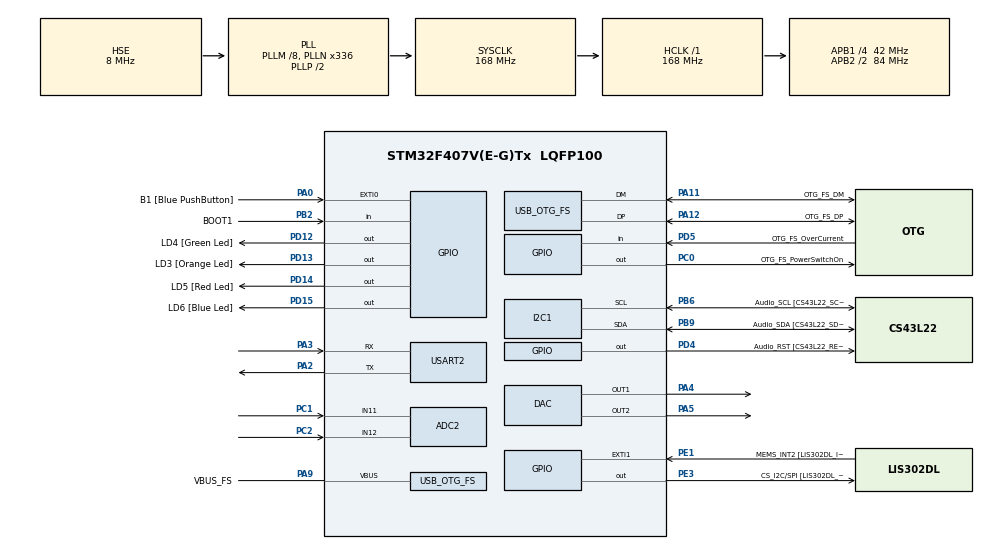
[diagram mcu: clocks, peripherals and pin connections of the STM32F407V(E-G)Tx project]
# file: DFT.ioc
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ADC1.Channel-1\#ChannelRegularConversion=ADC_CHANNEL_11
ADC1.NbrOfConversionFlag=1
ADC1.Rank-1\#ChannelRegularConversion=1
ADC1.SamplingTime-1\#ChannelRegularConversion=ADC_SAMPLETIME_3CYCLES
ADC1.master=1
ADC2.Channel-0\#ChannelRegularConversion=ADC_CHANNEL_12
ADC2.NbrOfConversionFlag=1
ADC2.Rank-0\#ChannelRegularConversion=1
ADC2.SamplingTime-0\#ChannelRegularConversion=ADC_SAMPLETIME_3CYCLES
Mcu.Family=STM32F4
Mcu.Name=STM32F407V(E-G)Tx
Mcu.Package=LQFP100
NVIC.OTG_FS_IRQn=true\:0\:0\:false\:false\:true\:true\:true\:true
NVIC.PriorityGroup=NVIC_PRIORITYGROUP_0
NVIC.TIM3_IRQn=true\:0\:0\:false\:false\:true\:true\:true\:true
PA0-WKUP.GPIO_Label=B1 [Blue PushButton]
PA0-WKUP.GPIO_ModeDefaultEXTI=GPIO_MODE_EVT_RISING
PA0-WKUP.GPIO_PuPd=GPIO_NOPULL
PA0-WKUP.Signal=GPXTI0
PA10.GPIO_Label=OTG_FS_ID
PA10.GPIO_Mode=GPIO_MODE_AF_PP
PA10.GPIO_PuPd=GPIO_NOPULL
PA10.GPIO_Speed=GPIO_SPEED_FREQ_LOW
PA10.Signal=USB_OTG_FS_ID
PA11.GPIO_Label=OTG_FS_DM
PA11.GPIO_Mode=GPIO_MODE_AF_PP
PA11.GPIO_PuPd=GPIO_NOPULL
PA11.GPIO_Speed=GPIO_SPEED_FREQ_LOW
PA11.Mode=Host_Only
PA11.Signal=USB_OTG_FS_DM
PA12.GPIO_Label=OTG_FS_DP
PA12.GPIO_Mode=GPIO_MODE_AF_PP
PA12.GPIO_PuPd=GPIO_NOPULL
PA12.GPIO_Speed=GPIO_SPEED_FREQ_LOW
PA12.Mode=Host_Only
PA12.Signal=USB_OTG_FS_DP
PA13.GPIO_Label=SWDIO
PA13.Mode=Serial_Wire
PA13.Signal=SYS_JTMS-SWDIO
PA14.GPIO_Label=SWCLK
PA14.Mode=Serial_Wire
PA14.Signal=SYS_JTCK-SWCLK
PA2.Mode=Asynchronous
PA2.Signal=USART2_TX
PA3.Mode=Asynchronous
PA3.Signal=USART2_RX
PA4.Signal=COMP_DAC1_group
PA5.Signal=COMP_DAC2_group
PA6.GPIO_Label=SPI1_MISO [LIS302DL_SDO]
PA6.GPIO_Mode=GPIO_MODE_AF_PP
PA6.GPIO_PuPd=GPIO_NOPULL
PA6.GPIO_Speed=GPIO_SPEED_FREQ_LOW
PA6.Signal=SPI1_MISO
PA7.GPIO_Label=SPI1_MOSI [LIS302DL_SDA/SDI/SDO]
PA7.GPIO_Mode=GPIO_MODE_AF_PP
PA7.GPIO_PuPd=GPIO_NOPULL
PA7.GPIO_Speed=GPIO_SPEED_FREQ_LOW
PA7.Signal=SPI1_MOSI
PA9.GPIO_Label=VBUS_FS
PA9.GPIO_Mode=GPIO_MODE_INPUT
PA9.GPIO_PuPd=GPIO_NOPULL
PA9.Mode=Activate_VBUS
PA9.Signal=USB_OTG_FS_VBUS
PB10.GPIO_Label=CLK_IN [MP45DT02_CLK]
PB10.GPIO_Mode=GPIO_MODE_AF_PP
PB10.GPIO_PuPd=GPIO_NOPULL
PB10.GPIO_Speed=GPIO_SPEED_FREQ_LOW
PB10.Signal=I2S2_CK
PB2.GPIO_Label=BOOT1
PB2.GPIO_Mode=GPIO_MODE_INPUT
PB2.GPIO_PuPd=GPIO_NOPULL
PB2.Signal=GPIO_Input
PB3.GPIO_Label=SWO
PB3.Signal=SYS_JTDO-SWO
PB6.GPIO_Label=Audio_SCL [CS43L22_SCL]
PB6.GPIO_Mode=GPIO_MODE_AF_OD
PB6.GPIO_Pu=GPIO_PULLUP
PB6.GPIO_PuPd=GPIO_NOPULL
PB6.GPIO_Speed=GPIO_SPEED_FREQ_LOW
PB6.Mode=I2C
PB6.Signal=I2C1_SCL
PB9.GPIO_Label=Audio_SDA [CS43L22_SDA]
PB9.GPIO_Mode=GPIO_MODE_AF_OD
PB9.GPIO_Pu=GPIO_PULLUP
PB9.GPIO_PuPd=GPIO_NOPULL
PB9.GPIO_Speed=GPIO_SPEED_FREQ_LOW
PB9.Mode=I2C
PB9.Signal=I2C1_SDA
PC0.GPIO_Label=OTG_FS_PowerSwitchOn
PC0.GPIO_PuPd=GPIO_NOPULL
PC0.GPIO_Speed=GPIO_SPEED_FREQ_LOW
PC0.PinState=GPIO_PIN_SET
PC0.Signal=GPIO_Output
PC1.Signal=ADCx_IN11
PC10.GPIO_Label=I2S3_SCK [CS43L22_SCLK]
PC10.GPIO_Mode=GPIO_MODE_AF_PP
PC10.GPIO_PuPd=GPIO_NOPULL
PC10.GPIO_Speed=GPIO_SPEED_FREQ_LOW
PC10.Signal=I2S3_CK
PC12.GPIO_Label=I2S3_SD [CS43L22_SDIN]
PC12.GPIO_Mode=GPIO_MODE_AF_PP
PC12.GPIO_PuPd=GPIO_NOPULL
PC12.GPIO_Speed=GPIO_SPEED_FREQ_LOW
PC12.Signal=I2S3_SD
PC14-OSC32_IN.GPIO_Label=PC14-OSC32_IN
PC14-OSC32_IN.Mode=LSE-External-Oscillator
PC14-OSC32_IN.Signal=RCC_OSC32_IN
PC15-OSC32_OUT.GPIO_Label=PC15-OSC32_OUT
PC15-OSC32_OUT.Mode=LSE-External-Oscillator
PC15-OSC32_OUT.Signal=RCC_OSC32_OUT
PC2.Signal=ADCx_IN12
PC3.GPIO_Label=PDM_OUT [MP45DT02_DOUT]
PC3.GPIO_Mode=GPIO_MODE_AF_PP
PC3.GPIO_PuPd=GPIO_NOPULL
PC3.GPIO_Speed=GPIO_SPEED_FREQ_LOW
PC3.Signal=I2S2_SD
PC7.GPIO_Label=I2S3_MCK [CS43L22_MCLK]
PC7.GPIO_Mode=GPIO_MODE_AF_PP
PC7.GPIO_PuPd=GPIO_NOPULL
PC7.GPIO_Speed=GPIO_SPEED_FREQ_LOW
PC7.Signal=I2S3_MCK
PD12.GPIO_Label=LD4 [Green Led]
PD12.GPIO_PuPd=GPIO_NOPULL
PD12.GPIO_Speed=GPIO_SPEED_FREQ_LOW
PD12.Signal=GPIO_Output
PD13.GPIO_Label=LD3 [Orange Led]
PD13.GPIO_PuPd=GPIO_NOPULL
PD13.GPIO_Speed=GPIO_SPEED_FREQ_LOW
PD13.Signal=GPIO_Output
PD14.GPIO_Label=LD5 [Red Led]
PD14.GPIO_PuPd=GPIO_NOPULL
PD14.GPIO_Speed=GPIO_SPEED_FREQ_LOW
PD14.Signal=GPIO_Output
PD15.GPIO_Label=LD6 [Blue Led]
PD15.GPIO_PuPd=GPIO_NOPULL
PD15.GPIO_Speed=GPIO_SPEED_FREQ_LOW
PD15.Signal=GPIO_Output
PD4.GPIO_Label=Audio_RST [CS43L22_RESET]
PD4.GPIO_PuPd=GPIO_NOPULL
PD4.GPIO_Speed=GPIO_SPEED_FREQ_LOW
PD4.Signal=GPIO_Output
PD5.GPIO_Label=OTG_FS_OverCurrent
PD5.GPIO_Mode=GPIO_MODE_INPUT
PD5.GPIO_PuPd=GPIO_NOPULL
PD5.Signal=GPIO_Input
PE1.GPIO_Label=MEMS_INT2 [LIS302DL_INT2]
PE1.GPIO_ModeDefaultEXTI=GPIO_MODE_EVT_RISING
PE1.GPIO_PuPd=GPIO_NOPULL
PE1.Signal=GPXTI1
PE3.GPIO_Label=CS_I2C/SPI [LIS302DL_CS_I2C/SPI]
PE3.GPIO_PuPd=GPIO_NOPULL
PE3.GPIO_Speed=GPIO_SPEED_FREQ_LOW
PE3.Signal=GPIO_Output
PH0-OSC_IN.GPIO_Label=PH0-OSC_IN
PH0-OSC_IN.Mode=HSE-External-Oscillator
PH0-OSC_IN.Signal=RCC_OSC_IN
PH1-OSC_OUT.GPIO_Label=PH1-OSC_OUT
PH1-OSC_OUT.Mode=HSE-External-Oscillator
PH1-OSC_OUT.Signal=RCC_OSC_OUT
ProjectManager.HeapSize=0x200
ProjectManager.StackSize=0x400
ProjectManager.TargetToolchain=STM32CubeIDE
RCC.48MHZClocksFreq_Value=48000000
RCC.AHBFreq_Value=168000000
RCC.APB1CLKDivider=RCC_HCLK_DIV4
RCC.APB1Freq_Value=42000000
RCC.APB1TimFreq_Value=84000000
RCC.APB2CLKDivider=RCC_HCLK_DIV2
RCC.APB2Freq_Value=84000000
RCC.APB2TimFreq_Value=168000000
RCC.CortexFreq_Value=168000000
RCC.HCLKFreq_Value=168000000
RCC.HSE_VALUE=8000000
RCC.HSI_VALUE=16000000
RCC.PLLM=8
RCC.PLLN=336
RCC.PLLQ=7
RCC.SYSCLKFreq_VALUE=168000000
RCC.SYSCLKSource=RCC_SYSCLKSOURCE_PLLCLK
RCC.VCOOutputFreq_Value=336000000
SH.ADCx_IN11.0=ADC2_IN11,IN11
SH.ADCx_IN11.1=ADC1_IN11,IN11
SH.ADCx_IN12.0=ADC2_IN12,IN12
SH.COMP_DAC1_group.0=DAC_OUT1,DAC_OUT1
SH.COMP_DAC2_group.0=DAC_OUT2,DAC_OUT2
TIM3.AutoReloadPreload=TIM_AUTORELOAD_PRELOAD_ENABLE
TIM3.Period=83
TIM3.Prescaler=99
USART2.VirtualMode=VM_ASYNC
USB_HOST.BSP.number=1
USB_HOST.USBH_HandleTypeDef-CDC_FS=hUsbHostFS
USB_HOST.VirtualModeFS=Cdc
USB_HOST0.BSP.STBoard=false
USB_HOST0.BSP.api=Unknown
USB_HOST0.BSP.instance=PC0
USB_HOST0.BSP.ip=GPIO
USB_HOST0.BSP.mode=Output
USB_HOST0.BSP.name=Drive_VBUS_FS
USB_HOST0.BSP.solution=PC0
USB_OTG_FS.VirtualMode=Host_Only
USB_OTG_FS.phy_itface=HCD_PHY_EMBEDDED
VP_TIM3_VS_ClockSourceINT.Mode=Internal
VP_USB_HOST_VS_USB_HOST_CDC_FS.Mode=CDC_FS
board=STM32F407G-DISC1

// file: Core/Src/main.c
/* USER CODE BEGIN Header */
/**
  ******************************************************************************
  * @file           : main.c
  * @brief          : Main program body
  ******************************************************************************
  * @attention  	: example AD DA VEPROF2B 2020
  * 				: read the manual DATASHEET CORTEX M4-BOARD
  * 				: Timer 3 interrupt and DUAL AD DA
  * @author			: J.F van der Bent
  * <h2><center>&copy; Copyright (c) 2020 STMicroelectronics.
  * All rights reserved.</center></h2>
  *
  * This software component is licensed by ST under Ultimate Liberty license
  * SLA0044, the "License"; You may not use this file except in compliance with
  * the License. You may obtain a copy of the License at:
  *                             www.st.com/SLA0044
  *
  ******************************************************************************
  */
/* USER CODE END Header */
#include "main.h"
#include "usb_host.h"

/* USER CODE BEGIN Includes */
#include "stdbool.h"
#include "stdio.h"
#include "string.h"
#include "math.h"
/* USER CODE END Includes */

/* USER CODE BEGIN PTD */
// Define pi in 10 decimals
#define M_PI 3.1415926535f
/* USER CODE END PTD */

ADC_HandleTypeDef hadc1;
ADC_HandleTypeDef hadc2;

DAC_HandleTypeDef hdac;

I2C_HandleTypeDef hi2c1;

TIM_HandleTypeDef htim3;

UART_HandleTypeDef huart2;

/* USER CODE BEGIN PV */
volatile int value1,value2;
int ADC_buffer[ADC_BUFFER_SIZE];
bool buffer_full = false;
/* USER CODE END PV */

void SystemClock_Config(void);
static void MX_GPIO_Init(void);
static void MX_I2C1_Init(void);
static void MX_ADC1_Init(void);
static void MX_ADC2_Init(void);
static void MX_DAC_Init(void);
static void MX_TIM3_Init(void);
static void MX_USART2_UART_Init(void);
void MX_USB_HOST_Process(void);

/* USER CODE BEGIN 0 */

static float sin_LUT[ADC_BUFFER_SIZE];
static float cos_LUT[ADC_BUFFER_SIZE];

/**
 * @brief Fill the Look-Up Tables (LUTs) for sine and cosine values
 *
 */
void init_LUTs()
{
    for (int i = 0; i < ADC_BUFFER_SIZE; i++)
    {
        float phase = 2.0f * M_PI * ((float)i / (float)ADC_BUFFER_SIZE);
        sin_LUT[i] = sinf(phase);
        cos_LUT[i] = cosf(phase);
    }
}

/**
 * @brief Perform a LUT lookup with linear interpolation
 *
 * @param lut
 * @param index
 * @return float lut value at index
 */
float lut_lookup(float *lut, float index)
{
  //Initialize integer indices
  int i0 = (int)index;
  int i1 = i0 + 1;

  //Wrap around if needed
  if(i1 >= ADC_BUFFER_SIZE)
    i1 = 0; // wrap around

  //Calculate the fraction
  float frac = index - (float)i0;

  return lut[i0] + frac * (lut[i1] - lut[i0]);
}

/**
 * @brief Calculate the DFT of the ADC buffer at a specific frequency using LUTs
 *
 * @param DFT_frequency The frequency to analyze
 * @return float
 */
float DFT_compute_LUT(float DFT_frequency)
{
  if (DFT_frequency <= 0.0f || DFT_frequency > 5000.0f)
  {
    return 0.0f; // Frequency out of range
  }

  const float Fs = 10000.0f; // Sampling frequency
  const float Nf = (float)ADC_BUFFER_SIZE;
  const float scale = 3.0f / 4095.0f; // Scale factor to convert ADC value to absolut volts

  float real = 0.0f;
  float imag = 0.0f;

  //Calculate index stap, based on input frequency, sampling frequency and buffer size
  float index_step = DFT_frequency * (float)ADC_BUFFER_SIZE / Fs;
  float index = 0.0f;

  for (int n = 0; n < ADC_BUFFER_SIZE; n++)
  {
    float sample_volts = (float)ADC_buffer[n] * scale;
    float cos_val = lut_lookup(cos_LUT, index);
    float sin_val = lut_lookup(sin_LUT, index);

    real += sample_volts * cos_val;
    imag -= sample_volts * sin_val;

    index += index_step;

    // Wrap around index if it exceeds ADC_BUFFER_SIZE
    if (index >= (float)ADC_BUFFER_SIZE)
    {
      index -= (float)ADC_BUFFER_SIZE;
    }
  }

  // Average the real and imaginary parts
  real /= Nf;
  imag /= Nf;

  // Return the magnitude
  return sqrtf(real * real + imag * imag);
}

/**
 * @brief Calculate the Discrete Fourier Transform (DFT) of the ADC buffer, between 20 and 1000 Hz
 *
 * @return void
 */
void DFT_spectrum_compute ()
{
  for (float freq = 0.0f; freq <= 1000.0f; freq += 10.0f)
  {
    float magnitude = DFT_compute_LUT(freq);
    char msg[30];
    snprintf(msg, sizeof(msg), "F:%f,M:%.3f\r\n", freq, magnitude);
    HAL_UART_Transmit(&huart2, (uint8_t*)msg, (uint16_t)strlen(msg), 100);
  }
}
/* USER CODE END 0 */

int main(void)
{

  /* MCU Configuration--------------------------------------------------------*/

  /* Reset of all peripherals, Initializes the Flash interface and the Systick. */
  HAL_Init();

  /* Configure the system clock */
  SystemClock_Config();

  /* Initialize all configured peripherals */
  MX_GPIO_Init();
  MX_I2C1_Init();
  MX_USB_HOST_Init();
  MX_ADC1_Init();
  MX_ADC2_Init();
  MX_DAC_Init();
  MX_TIM3_Init();
  MX_USART2_UART_Init();
  /* USER CODE BEGIN 2 */
  HAL_TIM_Base_Start_IT(&htim3);				// start the interrupt timer 3
  // Initialize sine/cosine lookup tables for DFT
  init_LUTs();
  char testmsg[] = "Hello, World!\r\n";
  HAL_UART_Transmit(&huart2, (uint8_t*)testmsg, (uint16_t)strlen(testmsg), 100);

  /* USER CODE END 2 */

  /* Infinite loop */
  while(1)
  {
    MX_USB_HOST_Process();
    if(buffer_full)
    {
      DFT_spectrum_compute();
      buffer_full = false;
    }

    //Test for single frequency
    // DFT_compute(1000.0f);
    // char msg[50];
    // snprintf(msg, sizeof(msg), "Magnitude at 1000 Hz: %.3f V\r\n", DFT_compute(1000.0f));
    // HAL_UART_Transmit(&huart2, (uint8_t*)msg, (uint16_t)strlen(msg), 100);
  }
}

void SystemClock_Config(void)
{
  RCC_OscInitTypeDef RCC_OscInitStruct = {0};
  RCC_ClkInitTypeDef RCC_ClkInitStruct = {0};

  /** Configure the main internal regulator output voltage
  */
  __HAL_RCC_PWR_CLK_ENABLE();
  __HAL_PWR_VOLTAGESCALING_CONFIG(PWR_REGULATOR_VOLTAGE_SCALE1);

  /** Initializes the RCC Oscillators according to the specified parameters
  * in the RCC_OscInitTypeDef structure.
  */
  RCC_OscInitStruct.OscillatorType = RCC_OSCILLATORTYPE_HSE;
  RCC_OscInitStruct.HSEState = RCC_HSE_ON;
  RCC_OscInitStruct.PLL.PLLState = RCC_PLL_ON;
  RCC_OscInitStruct.PLL.PLLSource = RCC_PLLSOURCE_HSE;
  RCC_OscInitStruct.PLL.PLLM = 8;
  RCC_OscInitStruct.PLL.PLLN = 336;
  RCC_OscInitStruct.PLL.PLLP = RCC_PLLP_DIV2;
  RCC_OscInitStruct.PLL.PLLQ = 7;
  if (HAL_RCC_OscConfig(&RCC_OscInitStruct) != HAL_OK)
  {
    Error_Handler();
  }

  /** Initializes the CPU, AHB and APB buses clocks
  */
  RCC_ClkInitStruct.ClockType = RCC_CLOCKTYPE_HCLK|RCC_CLOCKTYPE_SYSCLK
                              |RCC_CLOCKTYPE_PCLK1|RCC_CLOCKTYPE_PCLK2;
  RCC_ClkInitStruct.SYSCLKSource = RCC_SYSCLKSOURCE_PLLCLK;
  RCC_ClkInitStruct.AHBCLKDivider = RCC_SYSCLK_DIV1;
  RCC_ClkInitStruct.APB1CLKDivider = RCC_HCLK_DIV4;
  RCC_ClkInitStruct.APB2CLKDivider = RCC_HCLK_DIV2;

  if (HAL_RCC_ClockConfig(&RCC_ClkInitStruct, FLASH_LATENCY_5) != HAL_OK)
  {
    Error_Handler();
  }
}

static void MX_ADC1_Init(void)
{

  ADC_ChannelConfTypeDef sConfig = {0};

  /** Configure the global features of the ADC (Clock, Resolution, Data Alignment and number of conversion)
  */
  hadc1.Instance = ADC1;
  hadc1.Init.ClockPrescaler = ADC_CLOCK_SYNC_PCLK_DIV4;
  hadc1.Init.Resolution = ADC_RESOLUTION_12B;
  hadc1.Init.ScanConvMode = DISABLE;
  hadc1.Init.ContinuousConvMode = DISABLE;
  hadc1.Init.DiscontinuousConvMode = DISABLE;
  hadc1.Init.ExternalTrigConvEdge = ADC_EXTERNALTRIGCONVEDGE_NONE;
  hadc1.Init.ExternalTrigConv = ADC_SOFTWARE_START;
  hadc1.Init.DataAlign = ADC_DATAALIGN_RIGHT;
  hadc1.Init.NbrOfConversion = 1;
  hadc1.Init.DMAContinuousRequests = DISABLE;
  hadc1.Init.EOCSelection = ADC_EOC_SINGLE_CONV;
  if (HAL_ADC_Init(&hadc1) != HAL_OK)
  {
    Error_Handler();
  }

  /** Configure for the selected ADC regular channel its corresponding rank in the sequencer and its sample time.
  */
  sConfig.Channel = ADC_CHANNEL_11;
  sConfig.Rank = 1;
  sConfig.SamplingTime = ADC_SAMPLETIME_3CYCLES;
  if (HAL_ADC_ConfigChannel(&hadc1, &sConfig) != HAL_OK)
  {
    Error_Handler();
  }

}

static void MX_ADC2_Init(void)
{

  ADC_ChannelConfTypeDef sConfig = {0};

  /** Configure the global features of the ADC (Clock, Resolution, Data Alignment and number of conversion)
  */
  hadc2.Instance = ADC2;
  hadc2.Init.ClockPrescaler = ADC_CLOCK_SYNC_PCLK_DIV4;
  hadc2.Init.Resolution = ADC_RESOLUTION_12B;
  hadc2.Init.ScanConvMode = DISABLE;
  hadc2.Init.ContinuousConvMode = DISABLE;
  hadc2.Init.DiscontinuousConvMode = DISABLE;
  hadc2.Init.ExternalTrigConvEdge = ADC_EXTERNALTRIGCONVEDGE_NONE;
  hadc2.Init.ExternalTrigConv = ADC_SOFTWARE_START;
  hadc2.Init.DataAlign = ADC_DATAALIGN_RIGHT;
  hadc2.Init.NbrOfConversion = 1;
  hadc2.Init.DMAContinuousRequests = DISABLE;
  hadc2.Init.EOCSelection = ADC_EOC_SINGLE_CONV;
  if (HAL_ADC_Init(&hadc2) != HAL_OK)
  {
    Error_Handler();
  }

  /** Configure for the selected ADC regular channel its corresponding rank in the sequencer and its sample time.
  */
  sConfig.Channel = ADC_CHANNEL_12;
  sConfig.Rank = 1;
  sConfig.SamplingTime = ADC_SAMPLETIME_3CYCLES;
  if (HAL_ADC_ConfigChannel(&hadc2, &sConfig) != HAL_OK)
  {
    Error_Handler();
  }

}

static void MX_DAC_Init(void)
{

  DAC_ChannelConfTypeDef sConfig = {0};

  /** DAC Initialization
  */
  hdac.Instance = DAC;
  if (HAL_DAC_Init(&hdac) != HAL_OK)
  {
    Error_Handler();
  }

  /** DAC channel OUT1 config
  */
  sConfig.DAC_Trigger = DAC_TRIGGER_NONE;
  sConfig.DAC_OutputBuffer = DAC_OUTPUTBUFFER_ENABLE;
  if (HAL_DAC_ConfigChannel(&hdac, &sConfig, DAC_CHANNEL_1) != HAL_OK)
  {
    Error_Handler();
  }

  /** DAC channel OUT2 config
  */
  if (HAL_DAC_ConfigChannel(&hdac, &sConfig, DAC_CHANNEL_2) != HAL_OK)
  {
    Error_Handler();
  }

}

static void MX_I2C1_Init(void)
{

  hi2c1.Instance = I2C1;
  hi2c1.Init.ClockSpeed = 100000;
  hi2c1.Init.DutyCycle = I2C_DUTYCYCLE_2;
  hi2c1.Init.OwnAddress1 = 0;
  hi2c1.Init.AddressingMode = I2C_ADDRESSINGMODE_7BIT;
  hi2c1.Init.DualAddressMode = I2C_DUALADDRESS_DISABLE;
  hi2c1.Init.OwnAddress2 = 0;
  hi2c1.Init.GeneralCallMode = I2C_GENERALCALL_DISABLE;
  hi2c1.Init.NoStretchMode = I2C_NOSTRETCH_DISABLE;
  if (HAL_I2C_Init(&hi2c1) != HAL_OK)
  {
    Error_Handler();
  }

}

static void MX_TIM3_Init(void)
{

  /* USER CODE BEGIN TIM3_Init 0 */
	// note that the APB timerclock is used. In this example 168MHz/2 = 84MHz
  /* USER CODE END TIM3_Init 0 */

  TIM_ClockConfigTypeDef sClockSourceConfig = {0};
  TIM_MasterConfigTypeDef sMasterConfig = {0};

  /* USER CODE BEGIN TIM3_Init 1 */
  // timer 0.1 sec = 1000*8400 / 84000
  /* USER CODE END TIM3_Init 1 */
  htim3.Instance = TIM3;
  htim3.Init.Prescaler = 99;
  htim3.Init.CounterMode = TIM_COUNTERMODE_UP;
  htim3.Init.Period = 83;
  htim3.Init.ClockDivision = TIM_CLOCKDIVISION_DIV1;
  htim3.Init.AutoReloadPreload = TIM_AUTORELOAD_PRELOAD_ENABLE;
  if (HAL_TIM_Base_Init(&htim3) != HAL_OK)
  {
    Error_Handler();
  }
  sClockSourceConfig.ClockSource = TIM_CLOCKSOURCE_INTERNAL;
  if (HAL_TIM_ConfigClockSource(&htim3, &sClockSourceConfig) != HAL_OK)
  {
    Error_Handler();
  }
  sMasterConfig.MasterOutputTrigger = TIM_TRGO_RESET;
  sMasterConfig.MasterSlaveMode = TIM_MASTERSLAVEMODE_DISABLE;
  if (HAL_TIMEx_MasterConfigSynchronization(&htim3, &sMasterConfig) != HAL_OK)
  {
    Error_Handler();
  }

}

static void MX_USART2_UART_Init(void)
{

  huart2.Instance = USART2;
  huart2.Init.BaudRate = 115200;
  huart2.Init.WordLength = UART_WORDLENGTH_8B;
  huart2.Init.StopBits = UART_STOPBITS_1;
  huart2.Init.Parity = UART_PARITY_NONE;
  huart2.Init.Mode = UART_MODE_TX_RX;
  huart2.Init.HwFlowCtl = UART_HWCONTROL_NONE;
  huart2.Init.OverSampling = UART_OVERSAMPLING_16;
  if (HAL_UART_Init(&huart2) != HAL_OK)
  {
    Error_Handler();
  }

}

static void MX_GPIO_Init(void)
{
  GPIO_InitTypeDef GPIO_InitStruct = {0};

  /* GPIO Ports Clock Enable */
  __HAL_RCC_GPIOE_CLK_ENABLE();
  __HAL_RCC_GPIOC_CLK_ENABLE();
  __HAL_RCC_GPIOH_CLK_ENABLE();
  __HAL_RCC_GPIOA_CLK_ENABLE();
  __HAL_RCC_GPIOB_CLK_ENABLE();
  __HAL_RCC_GPIOD_CLK_ENABLE();

  /*Configure GPIO pin Output Level */
  HAL_GPIO_WritePin(CS_I2C_SPI_GPIO_Port, CS_I2C_SPI_Pin, GPIO_PIN_RESET);

  /*Configure GPIO pin Output Level */
  HAL_GPIO_WritePin(OTG_FS_PowerSwitchOn_GPIO_Port, OTG_FS_PowerSwitchOn_Pin, GPIO_PIN_SET);

  /*Configure GPIO pin Output Level */
  HAL_GPIO_WritePin(GPIOD, LD4_Pin|LD3_Pin|LD5_Pin|LD6_Pin
                          |Audio_RST_Pin, GPIO_PIN_RESET);

  /*Configure GPIO pin : CS_I2C_SPI_Pin */
  GPIO_InitStruct.Pin = CS_I2C_SPI_Pin;
  GPIO_InitStruct.Mode = GPIO_MODE_OUTPUT_PP;
  GPIO_InitStruct.Pull = GPIO_NOPULL;
  GPIO_InitStruct.Speed = GPIO_SPEED_FREQ_LOW;
  HAL_GPIO_Init(CS_I2C_SPI_GPIO_Port, &GPIO_InitStruct);

  /*Configure GPIO pin : OTG_FS_PowerSwitchOn_Pin */
  GPIO_InitStruct.Pin = OTG_FS_PowerSwitchOn_Pin;
  GPIO_InitStruct.Mode = GPIO_MODE_OUTPUT_PP;
  GPIO_InitStruct.Pull = GPIO_NOPULL;
  GPIO_InitStruct.Speed = GPIO_SPEED_FREQ_LOW;
  HAL_GPIO_Init(OTG_FS_PowerSwitchOn_GPIO_Port, &GPIO_InitStruct);

  /*Configure GPIO pin : PDM_OUT_Pin */
  GPIO_InitStruct.Pin = PDM_OUT_Pin;
  GPIO_InitStruct.Mode = GPIO_MODE_AF_PP;
  GPIO_InitStruct.Pull = GPIO_NOPULL;
  GPIO_InitStruct.Speed = GPIO_SPEED_FREQ_LOW;
  GPIO_InitStruct.Alternate = GPIO_AF5_SPI2;
  HAL_GPIO_Init(PDM_OUT_GPIO_Port, &GPIO_InitStruct);

  /*Configure GPIO pin : B1_Pin */
  GPIO_InitStruct.Pin = B1_Pin;
  GPIO_InitStruct.Mode = GPIO_MODE_EVT_RISING;
  GPIO_InitStruct.Pull = GPIO_NOPULL;
  HAL_GPIO_Init(B1_GPIO_Port, &GPIO_InitStruct);

  /*Configure GPIO pins : SPI1_MISO_Pin SPI1_MOSI_Pin */
  GPIO_InitStruct.Pin = SPI1_MISO_Pin|SPI1_MOSI_Pin;
  GPIO_InitStruct.Mode = GPIO_MODE_AF_PP;
  GPIO_InitStruct.Pull = GPIO_NOPULL;
  GPIO_InitStruct.Speed = GPIO_SPEED_FREQ_LOW;
  GPIO_InitStruct.Alternate = GPIO_AF5_SPI1;
  HAL_GPIO_Init(GPIOA, &GPIO_InitStruct);

  /*Configure GPIO pin : BOOT1_Pin */
  GPIO_InitStruct.Pin = BOOT1_Pin;
  GPIO_InitStruct.Mode = GPIO_MODE_INPUT;
  GPIO_InitStruct.Pull = GPIO_NOPULL;
  HAL_GPIO_Init(BOOT1_GPIO_Port, &GPIO_InitStruct);

  /*Configure GPIO pin : CLK_IN_Pin */
  GPIO_InitStruct.Pin = CLK_IN_Pin;
  GPIO_InitStruct.Mode = GPIO_MODE_AF_PP;
  GPIO_InitStruct.Pull = GPIO_NOPULL;
  GPIO_InitStruct.Speed = GPIO_SPEED_FREQ_LOW;
  GPIO_InitStruct.Alternate = GPIO_AF5_SPI2;
  HAL_GPIO_Init(CLK_IN_GPIO_Port, &GPIO_InitStruct);

  /*Configure GPIO pins : LD4_Pin LD3_Pin LD5_Pin LD6_Pin
                           Audio_RST_Pin */
  GPIO_InitStruct.Pin = LD4_Pin|LD3_Pin|LD5_Pin|LD6_Pin
                          |Audio_RST_Pin;
  GPIO_InitStruct.Mode = GPIO_MODE_OUTPUT_PP;
  GPIO_InitStruct.Pull = GPIO_NOPULL;
  GPIO_InitStruct.Speed = GPIO_SPEED_FREQ_LOW;
  HAL_GPIO_Init(GPIOD, &GPIO_InitStruct);

  /*Configure GPIO pins : I2S3_MCK_Pin I2S3_SCK_Pin I2S3_SD_Pin */
  GPIO_InitStruct.Pin = I2S3_MCK_Pin|I2S3_SCK_Pin|I2S3_SD_Pin;
  GPIO_InitStruct.Mode = GPIO_MODE_AF_PP;
  GPIO_InitStruct.Pull = GPIO_NOPULL;
  GPIO_InitStruct.Speed = GPIO_SPEED_FREQ_LOW;
  GPIO_InitStruct.Alternate = GPIO_AF6_SPI3;
  HAL_GPIO_Init(GPIOC, &GPIO_InitStruct);

  /*Configure GPIO pin : OTG_FS_OverCurrent_Pin */
  GPIO_InitStruct.Pin = OTG_FS_OverCurrent_Pin;
  GPIO_InitStruct.Mode = GPIO_MODE_INPUT;
  GPIO_InitStruct.Pull = GPIO_NOPULL;
  HAL_GPIO_Init(OTG_FS_OverCurrent_GPIO_Port, &GPIO_InitStruct);

  /*Configure GPIO pin : MEMS_INT2_Pin */
  GPIO_InitStruct.Pin = MEMS_INT2_Pin;
  GPIO_InitStruct.Mode = GPIO_MODE_EVT_RISING;
  GPIO_InitStruct.Pull = GPIO_NOPULL;
  HAL_GPIO_Init(MEMS_INT2_GPIO_Port, &GPIO_InitStruct);

}

void Error_Handler(void)
{
}
